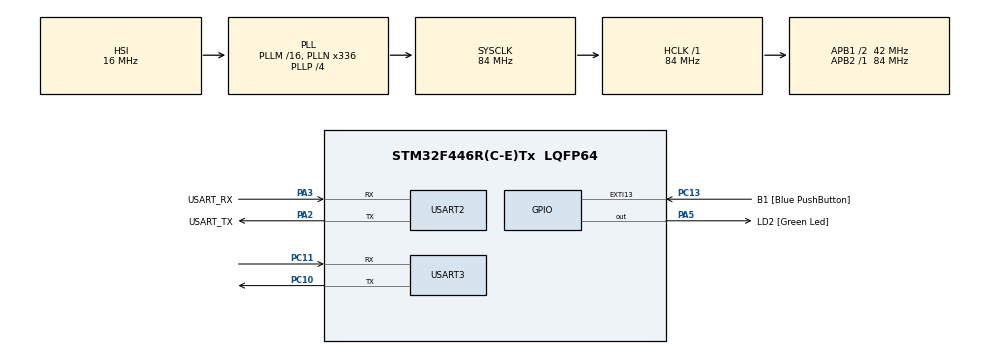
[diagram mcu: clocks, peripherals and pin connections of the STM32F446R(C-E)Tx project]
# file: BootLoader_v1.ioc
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Mcu.Family=STM32F4
Mcu.Name=STM32F446R(C-E)Tx
Mcu.Package=LQFP64
NVIC.EXTI15_10_IRQn=true\:0\:0\:false\:false\:true\:true\:true
NVIC.PriorityGroup=NVIC_PRIORITYGROUP_0
PA13.GPIO_Label=TMS
PA13.Mode=Serial_Wire
PA13.Signal=SYS_JTMS-SWDIO
PA14.GPIO_Label=TCK
PA14.Mode=Serial_Wire
PA14.Signal=SYS_JTCK-SWCLK
PA2.GPIO_Label=USART_TX
PA2.Mode=Asynchronous
PA2.Signal=USART2_TX
PA3.GPIO_Label=USART_RX
PA3.Mode=Asynchronous
PA3.Signal=USART2_RX
PA5.GPIO_Label=LD2 [Green Led]
PA5.Signal=GPIO_Output
PB3.GPIO_Label=SWO
PB3.Signal=SYS_JTDO-SWO
PC10.Mode=Asynchronous
PC10.Signal=USART3_TX
PC11.Mode=Asynchronous
PC11.Signal=USART3_RX
PC13.GPIO_Label=B1 [Blue PushButton]
PC13.GPIO_ModeDefaultEXTI=GPIO_MODE_IT_FALLING
PC13.Signal=GPXTI13
PC14-OSC32_IN.Mode=LSE-External-Oscillator
PC14-OSC32_IN.Signal=RCC_OSC32_IN
PC15-OSC32_OUT.Mode=LSE-External-Oscillator
PC15-OSC32_OUT.Signal=RCC_OSC32_OUT
PH0-OSC_IN.Mode=HSE-External-Oscillator
PH0-OSC_IN.Signal=RCC_OSC_IN
PH1-OSC_OUT.Mode=HSE-External-Oscillator
PH1-OSC_OUT.Signal=RCC_OSC_OUT
ProjectManager.HeapSize=0x200
ProjectManager.StackSize=0x400
ProjectManager.TargetToolchain=STM32CubeIDE
RCC.48MHZClocksFreq_Value=84000000
RCC.AHBFreq_Value=84000000
RCC.APB1CLKDivider=RCC_HCLK_DIV2
RCC.APB1Freq_Value=42000000
RCC.APB1TimFreq_Value=84000000
RCC.APB2Freq_Value=84000000
RCC.APB2TimFreq_Value=84000000
RCC.CortexFreq_Value=84000000
RCC.FLatency-AdvancedSettings=FLASH_LATENCY_2
RCC.HCLKFreq_Value=84000000
RCC.HSE_VALUE=8000000
RCC.HSI_VALUE=16000000
RCC.PLLN=336
RCC.PLLP=RCC_PLLP_DIV4
RCC.SYSCLKFreq_VALUE=84000000
RCC.SYSCLKSource=RCC_SYSCLKSOURCE_PLLCLK
RCC.USBFreq_Value=168000000
RCC.VCOOutputFreq_Value=336000000
USART2.VirtualMode=VM_ASYNC
USART3.VirtualMode=VM_ASYNC
VP_CRC_VS_CRC.Mode=CRC_Activate
board=NUCLEO-F446RE

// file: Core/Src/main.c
/* USER CODE BEGIN Header */
/**
  ******************************************************************************
  * @file           : main.c
  * @brief          : Main program body
  ******************************************************************************
  * @attention
  *
  * Copyright (c) 2022 STMicroelectronics.
  * All rights reserved.
  *
  * This software is licensed under terms that can be found in the LICENSE file
  * in the root directory of this software component.
  * If no LICENSE file comes with this software, it is provided AS-IS.
  *
  ******************************************************************************
  */
/* USER CODE END Header */
#include "main.h"

CRC_HandleTypeDef hcrc;

UART_HandleTypeDef huart3;

void SystemClock_Config(void);
static void MX_GPIO_Init(void);
static void MX_USART2_UART_Init(void);
static void MX_CRC_Init(void);
static void MX_USART3_UART_Init(void);
/* USER CODE BEGIN PFP */

void print_msg( char *format,... );
void jump_to_app(void);
void read_usr_cmd(void);

/* USER CODE END PFP */

/* USER CODE BEGIN 0 */
//UART_HandleTypeDef *UART
/* USER CODE END 0 */

int main(void)
{
  /* USER CODE BEGIN 1 */
	bool userButton;
  /* USER CODE END 1 */

  /* MCU Configuration--------------------------------------------------------*/

  /* Reset of all peripherals, Initializes the Flash interface and the Systick. */
  HAL_Init();

  /* Configure the system clock */
  SystemClock_Config();

  /* Initialize all configured peripherals */
  MX_GPIO_Init();
  MX_USART2_UART_Init();
  MX_CRC_Init();
  MX_USART3_UART_Init();
  /* USER CODE BEGIN 2 */
  HAL_UART_Transmit(VRL_COM_UART,(uint8_t *)"Hello from Bootloader!\r\n",24,HAL_MAX_DELAY);
  /* USER CODE END 2 */

  /* Infinite loop */
  /* USER CODE BEGIN WHILE */
  while (1)
  {
	  /* Get the User Button Status */
	  userButton = HAL_GPIO_ReadPin( USER_BUTTON_PORT, USER_BUTTON_PIN );
	  if ( userButton == BUTTON_PRESSED )
	  {
		  print_msg( "[DBG_MSG]: Button Pressed\r\n" );
		  jump_to_app();
	  }
	  else
	  {
		  print_msg( "[DBG_MSG]: Button Not Pressed\r\n" );
		  read_usr_cmd();
	  }
/*
 * uint32_t currentTick = HAL_GetTick();
	  print_msg( "[DBG_INFO]: curentTick = %d\r\n",currentTick );
	  while( HAL_GetTick() <= ( currentTick + 1000 ) )
	  {
		// Do Nothing
	  }
*/
  }
    /* USER CODE END WHILE */

}

void SystemClock_Config(void)
{
  RCC_OscInitTypeDef RCC_OscInitStruct = {0};
  RCC_ClkInitTypeDef RCC_ClkInitStruct = {0};

  /** Configure the main internal regulator output voltage
  */
  __HAL_RCC_PWR_CLK_ENABLE();
  __HAL_PWR_VOLTAGESCALING_CONFIG(PWR_REGULATOR_VOLTAGE_SCALE3);
  /** Initializes the RCC Oscillators according to the specified parameters
  * in the RCC_OscInitTypeDef structure.
  */
  RCC_OscInitStruct.OscillatorType = RCC_OSCILLATORTYPE_HSI;
  RCC_OscInitStruct.HSIState = RCC_HSI_ON;
  RCC_OscInitStruct.HSICalibrationValue = RCC_HSICALIBRATION_DEFAULT;
  RCC_OscInitStruct.PLL.PLLState = RCC_PLL_ON;
  RCC_OscInitStruct.PLL.PLLSource = RCC_PLLSOURCE_HSI;
  RCC_OscInitStruct.PLL.PLLM = 16;
  RCC_OscInitStruct.PLL.PLLN = 336;
  RCC_OscInitStruct.PLL.PLLP = RCC_PLLP_DIV4;
  RCC_OscInitStruct.PLL.PLLQ = 2;
  RCC_OscInitStruct.PLL.PLLR = 2;
  if (HAL_RCC_OscConfig(&RCC_OscInitStruct) != HAL_OK)
  {
    Error_Handler();
  }
  /** Initializes the CPU, AHB and APB buses clocks
  */
  RCC_ClkInitStruct.ClockType = RCC_CLOCKTYPE_HCLK|RCC_CLOCKTYPE_SYSCLK
                              |RCC_CLOCKTYPE_PCLK1|RCC_CLOCKTYPE_PCLK2;
  RCC_ClkInitStruct.SYSCLKSource = RCC_SYSCLKSOURCE_PLLCLK;
  RCC_ClkInitStruct.AHBCLKDivider = RCC_SYSCLK_DIV1;
  RCC_ClkInitStruct.APB1CLKDivider = RCC_HCLK_DIV2;
  RCC_ClkInitStruct.APB2CLKDivider = RCC_HCLK_DIV1;

  if (HAL_RCC_ClockConfig(&RCC_ClkInitStruct, FLASH_LATENCY_2) != HAL_OK)
  {
    Error_Handler();
  }
}

static void MX_CRC_Init(void)
{

  hcrc.Instance = CRC;
  if (HAL_CRC_Init(&hcrc) != HAL_OK)
  {
    Error_Handler();
  }

}

static void MX_USART2_UART_Init(void)
{

  huart2.Instance = USART2;
  huart2.Init.BaudRate = 115200;
  huart2.Init.WordLength = UART_WORDLENGTH_8B;
  huart2.Init.StopBits = UART_STOPBITS_1;
  huart2.Init.Parity = UART_PARITY_NONE;
  huart2.Init.Mode = UART_MODE_TX_RX;
  huart2.Init.HwFlowCtl = UART_HWCONTROL_NONE;
  huart2.Init.OverSampling = UART_OVERSAMPLING_16;
  if (HAL_UART_Init(&huart2) != HAL_OK)
  {
    Error_Handler();
  }

}

static void MX_USART3_UART_Init(void)
{

  huart3.Instance = USART3;
  huart3.Init.BaudRate = 115200;
  huart3.Init.WordLength = UART_WORDLENGTH_8B;
  huart3.Init.StopBits = UART_STOPBITS_1;
  huart3.Init.Parity = UART_PARITY_NONE;
  huart3.Init.Mode = UART_MODE_TX_RX;
  huart3.Init.HwFlowCtl = UART_HWCONTROL_NONE;
  huart3.Init.OverSampling = UART_OVERSAMPLING_16;
  if (HAL_UART_Init(&huart3) != HAL_OK)
  {
    Error_Handler();
  }

}

static void MX_GPIO_Init(void)
{
  GPIO_InitTypeDef GPIO_InitStruct = {0};

  /* GPIO Ports Clock Enable */
  __HAL_RCC_GPIOC_CLK_ENABLE();
  __HAL_RCC_GPIOH_CLK_ENABLE();
  __HAL_RCC_GPIOA_CLK_ENABLE();
  __HAL_RCC_GPIOB_CLK_ENABLE();

  /*Configure GPIO pin Output Level */
  HAL_GPIO_WritePin(LD2_GPIO_Port, LD2_Pin, GPIO_PIN_RESET);

  /*Configure GPIO pin : B1_Pin */
  GPIO_InitStruct.Pin = B1_Pin;
  GPIO_InitStruct.Mode = GPIO_MODE_IT_FALLING;
  GPIO_InitStruct.Pull = GPIO_NOPULL;
  HAL_GPIO_Init(B1_GPIO_Port, &GPIO_InitStruct);

  /*Configure GPIO pin : LD2_Pin */
  GPIO_InitStruct.Pin = LD2_Pin;
  GPIO_InitStruct.Mode = GPIO_MODE_OUTPUT_PP;
  GPIO_InitStruct.Pull = GPIO_NOPULL;
  GPIO_InitStruct.Speed = GPIO_SPEED_FREQ_LOW;
  HAL_GPIO_Init(LD2_GPIO_Port, &GPIO_InitStruct);

  /* EXTI interrupt init*/
  HAL_NVIC_SetPriority(EXTI15_10_IRQn, 0, 0);
  HAL_NVIC_EnableIRQ(EXTI15_10_IRQn);

}

/* USER CODE BEGIN 4 */

/**
  * @brief  This function is used to print string in Console over UART.
  * @retval None
  */
void print_msg( char *format,... )
{
#if ( BOOT_DEBUG_MSG == 1 )
	char data[100];
	va_list args;
	va_start(args, format);
	vsprintf(data, format, args);
	HAL_UART_Transmit( VRL_COM_UART, (uint8_t *)data, strlen(data), HAL_MAX_DELAY );
	va_end(args);
#endif
}

/**
  * @brief  This function is used to jump the code to app(0X0800_8000 or Sector 2)
  * 		or FLASH_SECTOR2_BASE_ADDRESS
  * @retval None
  */
void jump_to_app(void)
{
	/*	There are two things we need to take care before switching to App section
	 * 	1. Stack Pointer
	 * 		The very first address in app(0X0800_8000) holds the value of Main Stack Pointer
	 * 		(MSP)
	 *	2. Reset Handler
	 *		The next address in app(0x0800_8000+4) holds the value of the Reset Handler
	 * 	*/

	/* A function to hold the address of the reset handler */
	void (*app_reset_handler_addr)(void);
	print_msg("[DBG_MSG]: Started jump to application\r\n");

	/* 1.Get the MSP by reading the very first address in app */
	uint32_t mspValue = *(volatile uint32_t *)FLASH_SECTOR2_BASE_ADDRESS;
	print_msg("[DBG_INFO]: mspValue = %#x\r\n",mspValue);

	/* Sets the New MSP_value */
	__set_MSP(mspValue);

	/* 2.Get the resetHandlerAddr address from next address and set the new value */
	uint32_t resetHandlerAddr = *( volatile uint32_t *) (FLASH_SECTOR2_BASE_ADDRESS + 4);
	app_reset_handler_addr = (void *)resetHandlerAddr;

	print_msg("[DBG_INFO]: app_reset_handler_addr = %#x\r\n",app_reset_handler_addr);

	/* 3. Jump to the reset handler of the address */
	app_reset_handler_addr();

}

/**
  * @brief  This function is used read the commands from the user to process bootloader
  * @retval None
  */
void read_usr_cmd(void)
{
	uint8_t rxDataLen = 0;

	while(1)
	{
		memset(bootRxBuf, 0,  sizeof(bootRxBuf));
		/* First byte is the length of the command, check data frame for each command */
		HAL_UART_Receive(VRL_COM_UART, bootRxBuf, 1, HAL_MAX_DELAY);
		HAL_UART_Transmit(VRL_COM_UART, bootRxBuf, 1, HAL_MAX_DELAY);
		if (isdigit(bootRxBuf[0]))
		{
			HAL_UART_Receive(VRL_COM_UART, &bootRxBuf[1], 1, 500);
			HAL_UART_Transmit(VRL_COM_UART, &bootRxBuf[1], 1, HAL_MAX_DELAY);
			if (isdigit(bootRxBuf[1]))
			{
				/* Gets Length as 2 Digit */
				rxDataLen = (uint8_t)( (( bootRxBuf[0] - 48 )*10) + (bootRxBuf[1] - 48) ) ; // Converting Hex to decimal
				HAL_UART_Receive(VRL_COM_UART, &bootRxBuf[2], rxDataLen, HAL_MAX_DELAY);
				HAL_UART_Transmit(VRL_COM_UART, &bootRxBuf[2], rxDataLen, HAL_MAX_DELAY);
			}
			else
			{
				/* Gets Length as 1 Digit */
				rxDataLen = (uint8_t)( bootRxBuf[0] - 48 );
				HAL_UART_Receive(VRL_COM_UART, &bootRxBuf[1], rxDataLen, HAL_MAX_DELAY);
				HAL_UART_Transmit(VRL_COM_UART, &bootRxBuf[1], rxDataLen, HAL_MAX_DELAY);
			}

			HAL_UART_Transmit(VRL_COM_UART,(uint8_t *)"\r\n",3,HAL_MAX_DELAY);
			process_bootloader_command();
		}
		else if(bootRxBuf[0] == 13)
		{
			print_msg("\r\n");
		}
		else
		{
			print_msg("\r\n[DBG_INFO]: Invalid Input. Enter \"1h\" for help\r\n");
		}
	}

}

/**
  * @brief  Used to verify the CRC generated by the host
  * @len 	Length to find CRC for
  * @retval None
  */
bool verify_crc(uint8_t *pData, uint32_t len, uint32_t crcFromHost)
{
	uint32_t accCrcValue = 0xff;
	uint32_t buffChar;

	/* Calculate the CRC for each byte */
	for(uint32_t i=0; i<len; i++)
	{
		buffChar = pData[i];
		accCrcValue = HAL_CRC_Accumulate(&hcrc, &buffChar, 1);
	}

	/* Verify the CRC accumulated with CRC from the host */
	if( accCrcValue == crcFromHost )
	{
		return TASK_COMPLETED;
	}
	else
	{
		return TASK_PENDING;
	}

}

void HAL_GPIO_EXTI_Callback(uint16_t GPIO_Pin)
{
	HAL_GPIO_TogglePin(GPIOA, GPIO_PIN_5);
}

/* USER CODE END 4 */

void Error_Handler(void)
{
  __disable_irq();
  while (1)
  {
  }
}
